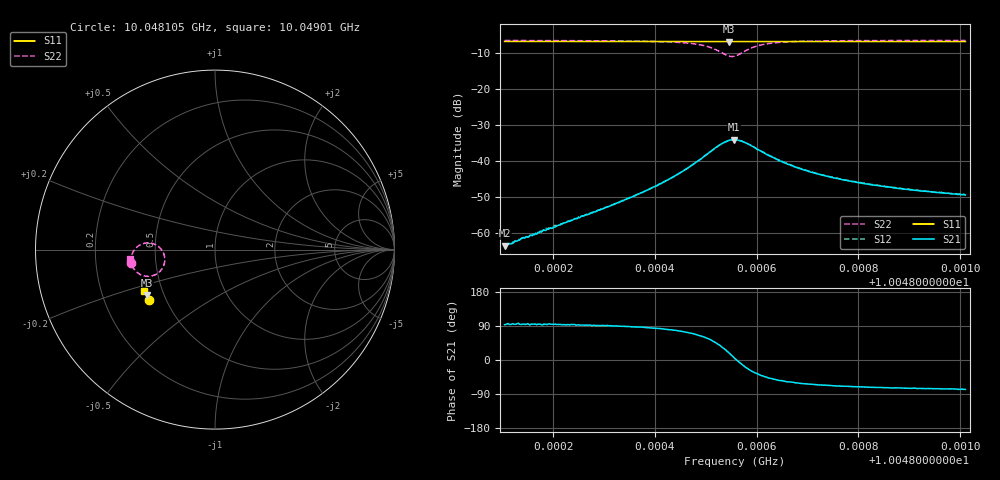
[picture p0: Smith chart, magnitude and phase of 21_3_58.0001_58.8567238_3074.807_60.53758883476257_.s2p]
#  HZ  S  RI  R  50.00
! Rohde & Schwarz Vector Network Analyzer
! Rohde-Schwarz,ZNB20-2Port,1311601062101988,3.16
! Created: UTC 3/21/2024, 12:51:12 AM
! freq[Hz]  re:S11  im:S11  re:S21  im:S21  re:S12  im:S12  re:S22  im:S22
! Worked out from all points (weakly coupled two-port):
!   401 points, 10.048105 GHz to 10.04901 GHz, reference 50 ohm
!   highest |S21| = -34.03 dB at 10.048555 GHz (marker M1); lowest = -63.6 dB at 10.048105 GHz (marker M2)
!   lowest |S11| = -6.8 dB at 10.048546 GHz (marker M3), VSWR 2.68, Z = 20.1 - j12.9 ohm
!   |S11| at or under -10 dB: nowhere
!   |S22| runs from -10.9 to -6.5 dB; largest |S21 - S12| = 0.0016
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1.00481049e10  -0.3654 -0.2786  -3.84e-05 0.000663  -8.9e-05 0.000651  -0.4677 -0.0732
1.00481185e10  -0.366 -0.2778  -5.36e-05 0.000707  -0.000108 0.000708  -0.4677 -0.0717
1.00481411e10  -0.3668 -0.2767  -6.68e-05 0.000866  -0.000102 0.000871  -0.4678 -0.069
1.00481638e10  -0.3677 -0.2753  -7.07e-05 0.000949  -0.000135 0.000943  -0.4679 -0.0663
1.00482566e10  -0.3712 -0.27  -6.56e-05 0.00173  -0.000179 0.00169  -0.4674 -0.0534
1.00483335e10  -0.3742 -0.2656  4.9e-05 0.00276  -0.000108 0.00276  -0.4653 -0.0384
1.00484082e10  -0.3769 -0.2611  0.000547 0.00468  0.000328 0.00477  -0.4575 -0.0156
1.00484535e10  -0.3784 -0.2585  0.00179 0.00688  0.00138 0.00699  -0.4427 0.00675
1.0048492e10  -0.3796 -0.2559  0.00499 0.00967  0.00439 0.00995  -0.4081 0.0309
1.00485237e10  -0.3801 -0.254  0.012 0.0107  0.0111 0.0115  -0.3413 0.0321
1.00485463e10  -0.38 -0.253  0.0185 0.00601  0.0179 0.00713  -0.2864 -0.0209
1.00485554e10  -0.3802 -0.253  0.0197 0.00229  0.0194 0.00369  -0.2797 -0.056
1.00485576e10  -0.3803 -0.2529  0.0198 0.00124  0.0194 0.00278  -0.2803 -0.0651
1.0048569e10  -0.3806 -0.2528  0.0188 -0.00297  0.019 -0.00173  -0.2943 -0.1056
1.00485825e10  -0.3812 -0.2524  0.0161 -0.0067  0.0166 -0.00551  -0.3258 -0.1362
1.00486142e10  -0.383 -0.2508  0.00958 -0.00897  0.0102 -0.00837  -0.3921 -0.1471
1.00486527e10  -0.3847 -0.2488  0.00544 -0.00782  0.00615 -0.00759  -0.431 -0.1295
1.00487093e10  -0.387 -0.2455  0.00303 -0.00624  0.00345 -0.00614  -0.4525 -0.1062
1.00487772e10  -0.3894 -0.2416  0.00189 -0.00503  0.00221 -0.00495  -0.4621 -0.0882
1.0048861e10  -0.3923 -0.2367  0.00123 -0.00417  0.00148 -0.00411  -0.4674 -0.0728
1.00489334e10  -0.3946 -0.2324  0.000944 -0.00369  0.00117 -0.00362  -0.4696 -0.0632
1.00490104e10  -0.3972 -0.228  0.000719 -0.0033  0.000963 -0.00329  -0.4711 -0.0543
